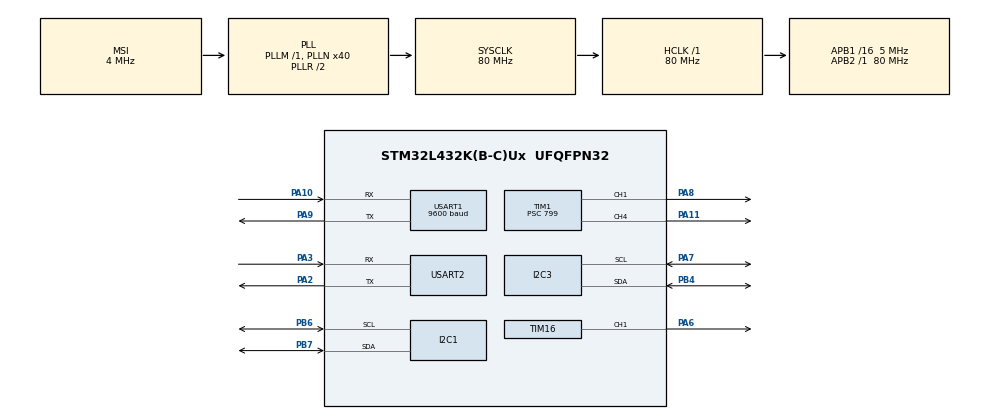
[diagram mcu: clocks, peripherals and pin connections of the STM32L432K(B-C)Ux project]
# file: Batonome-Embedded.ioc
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FREERTOS.Tasks01=defaultTask,24,128,StartDefaultTask,Default,NULL,Dynamic,NULL,NULL
I2C1.Analog_Filter=I2C_ANALOGFILTER_DISABLE
I2C1.Timing=0x0010111B
I2C3.Timing=0x00101319
Mcu.Family=STM32L4
Mcu.Name=STM32L432K(B-C)Ux
Mcu.Package=UFQFPN32
NVIC.PriorityGroup=NVIC_PRIORITYGROUP_4
NVIC.TIM6_DAC_IRQn=true\:15\:0\:false\:false\:true\:false\:false\:true\:true
NVIC.TimeBase=TIM6_DAC_IRQn
NVIC.TimeBaseIP=TIM6
NVIC.USART1_IRQn=true\:5\:0\:false\:false\:true\:true\:true\:true\:true
NVIC.USART2_IRQn=true\:5\:0\:false\:false\:true\:true\:true\:true\:true
PA10.Mode=Asynchronous
PA10.Signal=USART1_RX
PA11.Signal=S_TIM1_CH4
PA2.Mode=Asynchronous
PA2.Signal=USART2_TX
PA3.Mode=Asynchronous
PA3.Signal=USART2_RX
PA6.Signal=S_TIM16_CH1
PA7.Mode=I2C
PA7.Signal=I2C3_SCL
PA8.Signal=S_TIM1_CH1
PA9.Mode=Asynchronous
PA9.Signal=USART1_TX
PB4\ (NJTRST).Mode=I2C
PB4\ (NJTRST).Signal=I2C3_SDA
PB6.GPIO_Pu=GPIO_PULLUP
PB6.Mode=I2C
PB6.Signal=I2C1_SCL
PB7.GPIO_Pu=GPIO_PULLUP
PB7.Mode=I2C
PB7.Signal=I2C1_SDA
ProjectManager.HeapSize=0x200
ProjectManager.StackSize=0x400
ProjectManager.TargetToolchain=STM32CubeIDE
RCC.AHBFreq_Value=80000000
RCC.APB1CLKDivider=RCC_HCLK_DIV16
RCC.APB1Freq_Value=5000000
RCC.APB1TimFreq_Value=10000000
RCC.APB2Freq_Value=80000000
RCC.APB2TimFreq_Value=80000000
RCC.CortexFreq_Value=80000000
RCC.HCLKFreq_Value=80000000
RCC.HSE_VALUE=8000000
RCC.HSI48_VALUE=48000000
RCC.HSI_VALUE=16000000
RCC.LSE_VALUE=32768
RCC.MSI_VALUE=4000000
RCC.PLLN=40
RCC.SYSCLKFreq_VALUE=80000000
RCC.SYSCLKSource=RCC_SYSCLKSOURCE_PLLCLK
RCC.VCOOutputFreq_Value=160000000
SH.S_TIM16_CH1.0=TIM16_CH1,PWM Generation1 CH1
SH.S_TIM1_CH1.0=TIM1_CH1,PWM Generation1 CH1
SH.S_TIM1_CH4.0=TIM1_CH4,PWM Generation4 CH4
TIM1.Channel-PWM\ Generation1\ CH1=TIM_CHANNEL_1
TIM1.Channel-PWM\ Generation4\ CH4=TIM_CHANNEL_4
TIM1.CounterMode=TIM_COUNTERMODE_UP
TIM1.Period=1999
TIM1.Prescaler=799
TIM16.Channel=TIM_CHANNEL_1
TIM16.Period=1999
TIM16.Prescaler=799
TIM2.Period=1999
TIM2.Prescaler=799
USART1.BaudRate=9600
USART1.VirtualMode-Asynchronous=VM_ASYNC
USART2.VirtualMode-Asynchronous=VM_ASYNC
VP_FREERTOS_VS_CMSIS_V2.Mode=CMSIS_V2
VP_SYS_VS_tim6.Mode=TIM6
VP_TIM16_VS_ClockSourceINT.Mode=Enable_Timer
VP_TIM1_VS_ClockSourceINT.Mode=Internal
VP_TIM2_VS_ClockSourceINT.Mode=Internal
board=custom

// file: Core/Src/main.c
/* USER CODE BEGIN Header */
/**
  ******************************************************************************
  * @file           : main.c
  * @brief          : Main program body
  ******************************************************************************
  * @attention
  *
  * Copyright (c) 2023 STMicroelectronics.
  * All rights reserved.
  *
  * This software is licensed under terms that can be found in the LICENSE file
  * in the root directory of this software component.
  * If no LICENSE file comes with this software, it is provided AS-IS.
  *
  ******************************************************************************
  */
/* USER CODE END Header */
#include "main.h"
#include "cmsis_os.h"

/* USER CODE BEGIN Includes */
#include <stdio.h>
/* USER CODE END Includes */

/* USER CODE BEGIN PD */
uint8_t UART1_rxBuffer[RX_BUFFER_SIZE] = {0};
uint8_t UART2_rxBuffer[RX_BUFFER_SIZE] = {0};

uint8_t UART1_txBuffer[RX_BUFFER_SIZE] = {0};
uint8_t rxDataZigbee;
uint8_t rxDataGPS;

float valVent[10];

int offset;

BatonomeStruct batonomeData;

BatonomeStructConf batonomeDataConf;

/* USER CODE END PD */

I2C_HandleTypeDef hi2c1;
I2C_HandleTypeDef hi2c3;

TIM_HandleTypeDef htim1;
TIM_HandleTypeDef htim2;
TIM_HandleTypeDef htim16;

UART_HandleTypeDef huart1;
UART_HandleTypeDef huart2;

/* Definitions for defaultTask */
osThreadId_t defaultTaskHandle;
const osThreadAttr_t defaultTask_attributes = {
  .name = "defaultTask",
  .stack_size = 128 * 4,
  .priority = (osPriority_t) osPriorityNormal,
};

void SystemClock_Config(void);
static void MX_GPIO_Init(void);
static void MX_I2C1_Init(void);
static void MX_I2C3_Init(void);
static void MX_USART1_UART_Init(void);
static void MX_USART2_UART_Init(void);
static void MX_TIM1_Init(void);
static void MX_TIM16_Init(void);
static void MX_TIM2_Init(void);
void StartDefaultTask(void *argument);

/* USER CODE BEGIN 0 */
#ifdef __GNUC__
#define PUTCHAR_PROTOTYPE int __io_putchar(int ch)
#else
#define PUTCHAR_PROTOTYPE int fputc(int ch, FILE *f)
#endif

PUTCHAR_PROTOTYPE
{
  //HAL_UART_Transmit(&huart2, (uint8_t *)&ch, 1, HAL_MAX_DELAY);
  return ch;
}

/*
void logPWM(const char *format, ...)
{
#ifdef PWMLOG
	va_list args;
	char new_format[100]; // Définissez la taille de la chaîne selon vos besoins
	sprintf(new_format, "PWMLOG : %s", format);
    va_start(args, format);
    vprintf(format, args);
    va_end(args);
#endif
}

void logZIGBEE(const char *format, ...)
{
#ifdef ZIGBEELOG
	va_list args;
	char new_format[100]; // Définissez la taille de la chaîne selon vos besoins
	sprintf(new_format, "ZIGBEELOG : %s", format);
	va_start(args, format);
	vprintf(format, args);
	va_end(args);
#endif
}

void logGPS(const char *format, ...)
{
#ifdef GPSLOG
	va_list args;
	char new_format[100]; // Définissez la taille de la chaîne selon vos besoins
	sprintf(new_format, "GPSLOG : %s", format);
	va_start(args, format);
	vprintf(format, args);
	va_end(args);
#endif

}

void logIMU(const char *format, ...)
{
#ifdef IMULOG
	va_list args;
	char new_format[100]; // Définissez la taille de la chaîne selon vos besoins
	sprintf(new_format, "IMULOG : %s", format);
	va_start(args, format);
	vprintf(format, args);
	va_end(args);
#endif
}*/
/* USER CODE END 0 */

int main(void)
{

  /* MCU Configuration--------------------------------------------------------*/

  /* Reset of all peripherals, Initializes the Flash interface and the Systick. */
  HAL_Init();

  /* Configure the system clock */
  SystemClock_Config();

  /* Initialize all configured peripherals */
  MX_GPIO_Init();
  MX_I2C1_Init();
  MX_I2C3_Init();
  MX_USART1_UART_Init();
  MX_USART2_UART_Init();
  MX_TIM1_Init();
  MX_TIM16_Init();
  MX_TIM2_Init();
  /* USER CODE BEGIN 2 */
  printf("Welcome BATONOME V1.0.0\n");
  //HAL_TIM_PWM_Start(&htim16,TIM_CHANNEL_1);
  //TIM16->CCR1 = 150;
  //gps_Init();
  imu_Init();
  navig_Init();
  //zigbee_Init();
  windSensor_Init();
  gestionPWM_Init();
  HAL_UART_Receive_IT (&huart1, &rxDataZigbee, 1);
  HAL_UART_Receive_IT (&huart2, &rxDataGPS, 1);

  /* USER CODE END 2 */

  /* Init scheduler */
  osKernelInitialize();

  /* Create the thread(s) */
  /* creation of defaultTask */
  defaultTaskHandle = osThreadNew(StartDefaultTask, NULL, &defaultTask_attributes);

  /* Start scheduler */
  osKernelStart();

  /* We should never get here as control is now taken by the scheduler */
  /* Infinite loop */
  while (1)
  {

  }
}

void SystemClock_Config(void)
{
  RCC_OscInitTypeDef RCC_OscInitStruct = {0};
  RCC_ClkInitTypeDef RCC_ClkInitStruct = {0};

  /** Configure the main internal regulator output voltage
  */
  if (HAL_PWREx_ControlVoltageScaling(PWR_REGULATOR_VOLTAGE_SCALE1) != HAL_OK)
  {
    Error_Handler();
  }

  /** Initializes the RCC Oscillators according to the specified parameters
  * in the RCC_OscInitTypeDef structure.
  */
  RCC_OscInitStruct.OscillatorType = RCC_OSCILLATORTYPE_MSI;
  RCC_OscInitStruct.MSIState = RCC_MSI_ON;
  RCC_OscInitStruct.MSICalibrationValue = 0;
  RCC_OscInitStruct.MSIClockRange = RCC_MSIRANGE_6;
  RCC_OscInitStruct.PLL.PLLState = RCC_PLL_ON;
  RCC_OscInitStruct.PLL.PLLSource = RCC_PLLSOURCE_MSI;
  RCC_OscInitStruct.PLL.PLLM = 1;
  RCC_OscInitStruct.PLL.PLLN = 40;
  RCC_OscInitStruct.PLL.PLLP = RCC_PLLP_DIV7;
  RCC_OscInitStruct.PLL.PLLQ = RCC_PLLQ_DIV2;
  RCC_OscInitStruct.PLL.PLLR = RCC_PLLR_DIV2;
  if (HAL_RCC_OscConfig(&RCC_OscInitStruct) != HAL_OK)
  {
    Error_Handler();
  }

  /** Initializes the CPU, AHB and APB buses clocks
  */
  RCC_ClkInitStruct.ClockType = RCC_CLOCKTYPE_HCLK|RCC_CLOCKTYPE_SYSCLK
                              |RCC_CLOCKTYPE_PCLK1|RCC_CLOCKTYPE_PCLK2;
  RCC_ClkInitStruct.SYSCLKSource = RCC_SYSCLKSOURCE_PLLCLK;
  RCC_ClkInitStruct.AHBCLKDivider = RCC_SYSCLK_DIV1;
  RCC_ClkInitStruct.APB1CLKDivider = RCC_HCLK_DIV16;
  RCC_ClkInitStruct.APB2CLKDivider = RCC_HCLK_DIV1;

  if (HAL_RCC_ClockConfig(&RCC_ClkInitStruct, FLASH_LATENCY_4) != HAL_OK)
  {
    Error_Handler();
  }
}

static void MX_I2C1_Init(void)
{

  hi2c1.Instance = I2C1;
  hi2c1.Init.Timing = 0x0000E14;
  hi2c1.Init.OwnAddress1 = 0;
  hi2c1.Init.AddressingMode = I2C_ADDRESSINGMODE_7BIT;
  hi2c1.Init.DualAddressMode = I2C_DUALADDRESS_DISABLE;
  hi2c1.Init.OwnAddress2 = 0;
  hi2c1.Init.OwnAddress2Masks = I2C_OA2_NOMASK;
  hi2c1.Init.GeneralCallMode = I2C_GENERALCALL_DISABLE;
  hi2c1.Init.NoStretchMode = I2C_NOSTRETCH_DISABLE;
  if (HAL_I2C_Init(&hi2c1) != HAL_OK)
  {
    Error_Handler();
  }

  /** Configure Analogue filter
  */
  if (HAL_I2CEx_ConfigAnalogFilter(&hi2c1, I2C_ANALOGFILTER_DISABLE) != HAL_OK)
  {
    Error_Handler();
  }

  /** Configure Digital filter
  */
  if (HAL_I2CEx_ConfigDigitalFilter(&hi2c1, 0) != HAL_OK)
  {
    Error_Handler();
  }

}

static void MX_I2C3_Init(void)
{

  hi2c3.Instance = I2C3;
  hi2c3.Init.Timing = 0x00101319;
  hi2c3.Init.OwnAddress1 = 0;
  hi2c3.Init.AddressingMode = I2C_ADDRESSINGMODE_7BIT;
  hi2c3.Init.DualAddressMode = I2C_DUALADDRESS_DISABLE;
  hi2c3.Init.OwnAddress2 = 0;
  hi2c3.Init.OwnAddress2Masks = I2C_OA2_NOMASK;
  hi2c3.Init.GeneralCallMode = I2C_GENERALCALL_DISABLE;
  hi2c3.Init.NoStretchMode = I2C_NOSTRETCH_DISABLE;
  if (HAL_I2C_Init(&hi2c3) != HAL_OK)
  {
    Error_Handler();
  }

  /** Configure Analogue filter
  */
  if (HAL_I2CEx_ConfigAnalogFilter(&hi2c3, I2C_ANALOGFILTER_ENABLE) != HAL_OK)
  {
    Error_Handler();
  }

  /** Configure Digital filter
  */
  if (HAL_I2CEx_ConfigDigitalFilter(&hi2c3, 0) != HAL_OK)
  {
    Error_Handler();
  }

}

static void MX_TIM1_Init(void)
{

  TIM_ClockConfigTypeDef sClockSourceConfig = {0};
  TIM_MasterConfigTypeDef sMasterConfig = {0};
  TIM_OC_InitTypeDef sConfigOC = {0};
  TIM_BreakDeadTimeConfigTypeDef sBreakDeadTimeConfig = {0};

  htim1.Instance = TIM1;
  htim1.Init.Prescaler = 799;
  htim1.Init.CounterMode = TIM_COUNTERMODE_UP;
  htim1.Init.Period = 1999;
  htim1.Init.ClockDivision = TIM_CLOCKDIVISION_DIV1;
  htim1.Init.RepetitionCounter = 0;
  htim1.Init.AutoReloadPreload = TIM_AUTORELOAD_PRELOAD_DISABLE;
  if (HAL_TIM_Base_Init(&htim1) != HAL_OK)
  {
    Error_Handler();
  }
  sClockSourceConfig.ClockSource = TIM_CLOCKSOURCE_INTERNAL;
  if (HAL_TIM_ConfigClockSource(&htim1, &sClockSourceConfig) != HAL_OK)
  {
    Error_Handler();
  }
  if (HAL_TIM_PWM_Init(&htim1) != HAL_OK)
  {
    Error_Handler();
  }
  sMasterConfig.MasterOutputTrigger = TIM_TRGO_RESET;
  sMasterConfig.MasterOutputTrigger2 = TIM_TRGO2_RESET;
  sMasterConfig.MasterSlaveMode = TIM_MASTERSLAVEMODE_DISABLE;
  if (HAL_TIMEx_MasterConfigSynchronization(&htim1, &sMasterConfig) != HAL_OK)
  {
    Error_Handler();
  }
  sConfigOC.OCMode = TIM_OCMODE_PWM1;
  sConfigOC.Pulse = 0;
  sConfigOC.OCPolarity = TIM_OCPOLARITY_HIGH;
  sConfigOC.OCNPolarity = TIM_OCNPOLARITY_HIGH;
  sConfigOC.OCFastMode = TIM_OCFAST_DISABLE;
  sConfigOC.OCIdleState = TIM_OCIDLESTATE_RESET;
  sConfigOC.OCNIdleState = TIM_OCNIDLESTATE_RESET;
  if (HAL_TIM_PWM_ConfigChannel(&htim1, &sConfigOC, TIM_CHANNEL_1) != HAL_OK)
  {
    Error_Handler();
  }
  if (HAL_TIM_PWM_ConfigChannel(&htim1, &sConfigOC, TIM_CHANNEL_4) != HAL_OK)
  {
    Error_Handler();
  }
  sBreakDeadTimeConfig.OffStateRunMode = TIM_OSSR_DISABLE;
  sBreakDeadTimeConfig.OffStateIDLEMode = TIM_OSSI_DISABLE;
  sBreakDeadTimeConfig.LockLevel = TIM_LOCKLEVEL_OFF;
  sBreakDeadTimeConfig.DeadTime = 0;
  sBreakDeadTimeConfig.BreakState = TIM_BREAK_DISABLE;
  sBreakDeadTimeConfig.BreakPolarity = TIM_BREAKPOLARITY_HIGH;
  sBreakDeadTimeConfig.BreakFilter = 0;
  sBreakDeadTimeConfig.Break2State = TIM_BREAK2_DISABLE;
  sBreakDeadTimeConfig.Break2Polarity = TIM_BREAK2POLARITY_HIGH;
  sBreakDeadTimeConfig.Break2Filter = 0;
  sBreakDeadTimeConfig.AutomaticOutput = TIM_AUTOMATICOUTPUT_DISABLE;
  if (HAL_TIMEx_ConfigBreakDeadTime(&htim1, &sBreakDeadTimeConfig) != HAL_OK)
  {
    Error_Handler();
  }
  HAL_TIM_MspPostInit(&htim1);

}

static void MX_TIM2_Init(void)
{

  TIM_ClockConfigTypeDef sClockSourceConfig = {0};
  TIM_MasterConfigTypeDef sMasterConfig = {0};

  htim2.Instance = TIM2;
  htim2.Init.Prescaler = 799;
  htim2.Init.CounterMode = TIM_COUNTERMODE_UP;
  htim2.Init.Period = 1999;
  htim2.Init.ClockDivision = TIM_CLOCKDIVISION_DIV1;
  htim2.Init.AutoReloadPreload = TIM_AUTORELOAD_PRELOAD_DISABLE;
  if (HAL_TIM_Base_Init(&htim2) != HAL_OK)
  {
    Error_Handler();
  }
  sClockSourceConfig.ClockSource = TIM_CLOCKSOURCE_INTERNAL;
  if (HAL_TIM_ConfigClockSource(&htim2, &sClockSourceConfig) != HAL_OK)
  {
    Error_Handler();
  }
  sMasterConfig.MasterOutputTrigger = TIM_TRGO_RESET;
  sMasterConfig.MasterSlaveMode = TIM_MASTERSLAVEMODE_DISABLE;
  if (HAL_TIMEx_MasterConfigSynchronization(&htim2, &sMasterConfig) != HAL_OK)
  {
    Error_Handler();
  }

}

static void MX_TIM16_Init(void)
{

  TIM_OC_InitTypeDef sConfigOC = {0};
  TIM_BreakDeadTimeConfigTypeDef sBreakDeadTimeConfig = {0};

  htim16.Instance = TIM16;
  htim16.Init.Prescaler = 799;
  htim16.Init.CounterMode = TIM_COUNTERMODE_UP;
  htim16.Init.Period = 1999;
  htim16.Init.ClockDivision = TIM_CLOCKDIVISION_DIV1;
  htim16.Init.RepetitionCounter = 0;
  htim16.Init.AutoReloadPreload = TIM_AUTORELOAD_PRELOAD_DISABLE;
  if (HAL_TIM_Base_Init(&htim16) != HAL_OK)
  {
    Error_Handler();
  }
  if (HAL_TIM_PWM_Init(&htim16) != HAL_OK)
  {
    Error_Handler();
  }
  sConfigOC.OCMode = TIM_OCMODE_PWM1;
  sConfigOC.Pulse = 0;
  sConfigOC.OCPolarity = TIM_OCPOLARITY_HIGH;
  sConfigOC.OCNPolarity = TIM_OCNPOLARITY_HIGH;
  sConfigOC.OCFastMode = TIM_OCFAST_DISABLE;
  sConfigOC.OCIdleState = TIM_OCIDLESTATE_RESET;
  sConfigOC.OCNIdleState = TIM_OCNIDLESTATE_RESET;
  if (HAL_TIM_PWM_ConfigChannel(&htim16, &sConfigOC, TIM_CHANNEL_1) != HAL_OK)
  {
    Error_Handler();
  }
  sBreakDeadTimeConfig.OffStateRunMode = TIM_OSSR_DISABLE;
  sBreakDeadTimeConfig.OffStateIDLEMode = TIM_OSSI_DISABLE;
  sBreakDeadTimeConfig.LockLevel = TIM_LOCKLEVEL_OFF;
  sBreakDeadTimeConfig.DeadTime = 0;
  sBreakDeadTimeConfig.BreakState = TIM_BREAK_DISABLE;
  sBreakDeadTimeConfig.BreakPolarity = TIM_BREAKPOLARITY_HIGH;
  sBreakDeadTimeConfig.AutomaticOutput = TIM_AUTOMATICOUTPUT_DISABLE;
  if (HAL_TIMEx_ConfigBreakDeadTime(&htim16, &sBreakDeadTimeConfig) != HAL_OK)
  {
    Error_Handler();
  }
  HAL_TIM_MspPostInit(&htim16);

}

static void MX_USART1_UART_Init(void)
{

  huart1.Instance = USART1;
  huart1.Init.BaudRate = 9600;
  huart1.Init.WordLength = UART_WORDLENGTH_8B;
  huart1.Init.StopBits = UART_STOPBITS_1;
  huart1.Init.Parity = UART_PARITY_NONE;
  huart1.Init.Mode = UART_MODE_TX_RX;
  huart1.Init.HwFlowCtl = UART_HWCONTROL_NONE;
  huart1.Init.OverSampling = UART_OVERSAMPLING_16;
  huart1.Init.OneBitSampling = UART_ONE_BIT_SAMPLE_DISABLE;
  huart1.AdvancedInit.AdvFeatureInit = UART_ADVFEATURE_NO_INIT;
  if (HAL_UART_Init(&huart1) != HAL_OK)
  {
    Error_Handler();
  }

}

static void MX_USART2_UART_Init(void)
{

  huart2.Instance = USART2;
  huart2.Init.BaudRate = 38400;
  huart2.Init.WordLength = UART_WORDLENGTH_8B;
  huart2.Init.StopBits = UART_STOPBITS_1;
  huart2.Init.Parity = UART_PARITY_NONE;
  huart2.Init.Mode = UART_MODE_TX_RX;
  huart2.Init.HwFlowCtl = UART_HWCONTROL_NONE;
  huart2.Init.OverSampling = UART_OVERSAMPLING_16;
  huart2.Init.OneBitSampling = UART_ONE_BIT_SAMPLE_DISABLE;
  huart2.AdvancedInit.AdvFeatureInit = UART_ADVFEATURE_NO_INIT;
  if (HAL_UART_Init(&huart2) != HAL_OK)
  {
    Error_Handler();
  }

}

static void MX_GPIO_Init(void)
{

  /* GPIO Ports Clock Enable */
  __HAL_RCC_GPIOA_CLK_ENABLE();
  __HAL_RCC_GPIOB_CLK_ENABLE();

}

/* USER CODE BEGIN 4 */
void HAL_UART_RxCpltCallback(UART_HandleTypeDef *huart)
{
	if (huart->Instance == USART1) {
			zigbeeTxCpltCallback();
			//printf("%c",rxDataZigbee);
			//HAL_UART_Receive_IT (&huart1, &rxDataZigbee, 1);
		}
	if (huart->Instance == USART2) {
		GPS_RxCpltCallback();
			}
}

/* USER CODE END 4 */

void StartDefaultTask(void *argument)
{
  /* USER CODE BEGIN 5 */
  /* Infinite loop */
  for(;;)
  {
    osDelay(1);
	//PRINT("Step: 0\n");
	/*osDelay(2000);
	TIM1->CCR1 = 10;
	PRINT("Step: 10\n");
	osDelay(2000);
	TIM1->CCR1 = 20;
	PRINT("Step: 20\n");
	osDelay(2000);
	TIM1->CCR1 = 30;
	PRINT("Step: 30\n");
	osDelay(2000);
	TIM1->CCR1 = 40;
	PRINT("Step: 40\n");
	osDelay(2000);
	TIM1->CCR1 = 50;
	PRINT("Step: 50\n");
	osDelay(2000);
	TIM1->CCR1 = 60;
	PRINT("Step: 60\n");
	osDelay(2000);
	TIM1->CCR1 = 70;
	PRINT("Step: 70\n");
	osDelay(2000);
	TIM1->CCR1 = 80;
	PRINT("Step: 80\n");
	osDelay(2000);
	TIM1->CCR1 = 90;
	PRINT("Step: 90\n");
	osDelay(500);
	TIM1->CCR1 = 99;
	PRINT("Step: 99\n");
	osDelay(5000);*/
  }
  /* USER CODE END 5 */
}

void HAL_TIM_PeriodElapsedCallback(TIM_HandleTypeDef *htim)
{
  if (htim->Instance == TIM6) {
    HAL_IncTick();
  }
}

void Error_Handler(void)
{
  __disable_irq();
  while (1)
  {
  }
}
